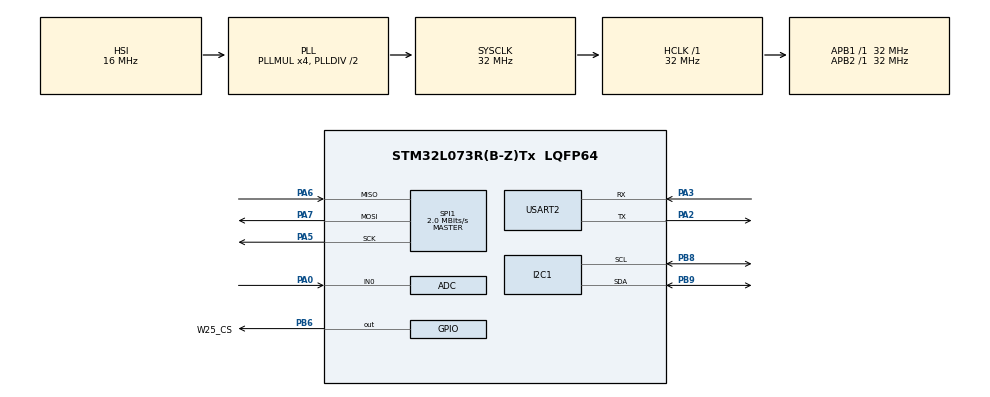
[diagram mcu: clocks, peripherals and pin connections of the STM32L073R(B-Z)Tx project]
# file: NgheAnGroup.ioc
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ADC.SamplingTime=ADC_SAMPLETIME_39CYCLES_5
FREERTOS.Mutexes01=SystemDataMutex,Dynamic,NULL,Available
FREERTOS.Queues01=LogQueue,16,LogMsg_t,0,Dynamic,NULL,NULL;CmdRxQueue,32,uint8_t,0,Dynamic,NULL,NULL
FREERTOS.Tasks01=SensorTask,24,256,StartSensorTask,Default,NULL,Dynamic,NULL,NULL;SPITask,8,256,StartSPITask,Default,NULL,Dynamic,NULL,NULL;ADCTask,8,256,StartADCTask,Default,NULL,Dynamic,NULL,NULL;UARTTask,8,256,StartUARTTask,Default,NULL,Dynamic,NULL,NULL;CommandTask,8,256,StartCommandTask,Default,NULL,Dynamic,NULL,NULL
FREERTOS.configCHECK_FOR_STACK_OVERFLOW=2
FREERTOS.configTOTAL_HEAP_SIZE=8192
I2C1.Timing=0x00B07CB4
Mcu.Family=STM32L0
Mcu.Name=STM32L073R(B-Z)Tx
Mcu.Package=LQFP64
NVIC.TIM21_IRQn=true\:3\:0\:false\:false\:true\:false\:false\:true\:true
NVIC.TimeBase=TIM21_IRQn
NVIC.TimeBaseIP=TIM21
NVIC.USART2_IRQn=true\:3\:0\:false\:false\:true\:true\:true\:true\:true
PA0.Mode=IN0
PA0.Signal=ADC_IN0
PA13.Mode=Serial_Wire
PA13.Signal=SYS_SWDIO
PA14.Mode=Serial_Wire
PA14.Signal=SYS_SWCLK
PA2.Mode=Asynchronous
PA2.Signal=USART2_TX
PA3.Mode=Asynchronous
PA3.Signal=USART2_RX
PA5.Mode=Full_Duplex_Master
PA5.Signal=SPI1_SCK
PA6.Mode=Full_Duplex_Master
PA6.Signal=SPI1_MISO
PA7.Mode=Full_Duplex_Master
PA7.Signal=SPI1_MOSI
PB6.GPIO_Label=W25_CS
PB6.Signal=GPIO_Output
PB8.Mode=I2C
PB8.Signal=I2C1_SCL
PB9.Mode=I2C
PB9.Signal=I2C1_SDA
ProjectManager.HeapSize=0x200
ProjectManager.StackSize=0x400
ProjectManager.TargetToolchain=STM32CubeIDE
RCC.AHBFreq_Value=32000000
RCC.APB1Freq_Value=32000000
RCC.APB1TimFreq_Value=32000000
RCC.APB2Freq_Value=32000000
RCC.APB2TimFreq_Value=32000000
RCC.HCLKFreq_Value=32000000
RCC.HSE_VALUE=8000000
RCC.HSI16_VALUE=16000000
RCC.HSI48_VALUE=48000000
RCC.HSI_VALUE=16000000
RCC.LSE_VALUE=32768
RCC.MSI_VALUE=2097000
RCC.PLLMUL=RCC_PLLMUL_4
RCC.SYSCLKFreq_VALUE=32000000
RCC.SYSCLKSource=RCC_SYSCLKSOURCE_PLLCLK
RCC.VCOOutputFreq_Value=64000000
SPI1.BaudRatePrescaler=SPI_BAUDRATEPRESCALER_16
SPI1.CalculateBaudRate=2.0 MBits/s
SPI1.Direction=SPI_DIRECTION_2LINES
SPI1.Mode=SPI_MODE_MASTER
SPI1.VirtualType=VM_MASTER
USART2.VirtualMode-Asynchronous=VM_ASYNC
VP_FREERTOS_VS_CMSIS_V2.Mode=CMSIS_V2
VP_SYS_VS_tim21.Mode=TIM21
board=custom

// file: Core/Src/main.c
/* USER CODE BEGIN Header */
/**
  ******************************************************************************
  * @file           : main.c
  * @brief          : Main program body
  ******************************************************************************
  * @attention
  *
  * Copyright (c) 2026 STMicroelectronics.
  * All rights reserved.
  *
  * This software is licensed under terms that can be found in the LICENSE file
  * in the root directory of this software component.
  * If no LICENSE file comes with this software, it is provided AS-IS.
  *
  ******************************************************************************
  */
/* USER CODE END Header */
#include "main.h"
#include "cmsis_os.h"
#include "adc.h"
#include "i2c.h"
#include "spi.h"
#include "usart.h"
#include "gpio.h"

void SystemClock_Config(void);
void MX_FREERTOS_Init(void);

int main(void)
{

  /* MCU Configuration--------------------------------------------------------*/

  /* Reset of all peripherals, Initializes the Flash interface and the Systick. */
  HAL_Init();

  /* Configure the system clock */
  SystemClock_Config();

  /* Initialize all configured peripherals */
  MX_GPIO_Init();
  MX_USART2_UART_Init();
  MX_ADC_Init();
  MX_I2C1_Init();
  MX_SPI1_Init();

  /* Init scheduler */
  osKernelInitialize();  /* Call init function for freertos objects (in cmsis_os2.c) */
  MX_FREERTOS_Init();

  /* Start scheduler */
  osKernelStart();

  /* We should never get here as control is now taken by the scheduler */

  /* Infinite loop */
  while (1)
  {

  }
}

void SystemClock_Config(void)
{
  RCC_OscInitTypeDef RCC_OscInitStruct = {0};
  RCC_ClkInitTypeDef RCC_ClkInitStruct = {0};
  RCC_PeriphCLKInitTypeDef PeriphClkInit = {0};

  /** Configure the main internal regulator output voltage
  */
  __HAL_PWR_VOLTAGESCALING_CONFIG(PWR_REGULATOR_VOLTAGE_SCALE1);

  /** Initializes the RCC Oscillators according to the specified parameters
  * in the RCC_OscInitTypeDef structure.
  */
  RCC_OscInitStruct.OscillatorType = RCC_OSCILLATORTYPE_HSI;
  RCC_OscInitStruct.HSIState = RCC_HSI_ON;
  RCC_OscInitStruct.HSICalibrationValue = RCC_HSICALIBRATION_DEFAULT;
  RCC_OscInitStruct.PLL.PLLState = RCC_PLL_ON;
  RCC_OscInitStruct.PLL.PLLSource = RCC_PLLSOURCE_HSI;
  RCC_OscInitStruct.PLL.PLLMUL = RCC_PLLMUL_4;
  RCC_OscInitStruct.PLL.PLLDIV = RCC_PLLDIV_2;
  if (HAL_RCC_OscConfig(&RCC_OscInitStruct) != HAL_OK)
  {
    Error_Handler();
  }

  /** Initializes the CPU, AHB and APB buses clocks
  */
  RCC_ClkInitStruct.ClockType = RCC_CLOCKTYPE_HCLK|RCC_CLOCKTYPE_SYSCLK
                              |RCC_CLOCKTYPE_PCLK1|RCC_CLOCKTYPE_PCLK2;
  RCC_ClkInitStruct.SYSCLKSource = RCC_SYSCLKSOURCE_PLLCLK;
  RCC_ClkInitStruct.AHBCLKDivider = RCC_SYSCLK_DIV1;
  RCC_ClkInitStruct.APB1CLKDivider = RCC_HCLK_DIV1;
  RCC_ClkInitStruct.APB2CLKDivider = RCC_HCLK_DIV1;

  if (HAL_RCC_ClockConfig(&RCC_ClkInitStruct, FLASH_LATENCY_1) != HAL_OK)
  {
    Error_Handler();
  }
  PeriphClkInit.PeriphClockSelection = RCC_PERIPHCLK_USART2|RCC_PERIPHCLK_I2C1;
  PeriphClkInit.Usart2ClockSelection = RCC_USART2CLKSOURCE_PCLK1;
  PeriphClkInit.I2c1ClockSelection = RCC_I2C1CLKSOURCE_PCLK1;
  if (HAL_RCCEx_PeriphCLKConfig(&PeriphClkInit) != HAL_OK)
  {
    Error_Handler();
  }
}

void HAL_TIM_PeriodElapsedCallback(TIM_HandleTypeDef *htim)
{
  if (htim->Instance == TIM21)
  {
    HAL_IncTick();
  }
}

void Error_Handler(void)
{
  __disable_irq();
  while (1)
  {
  }
}

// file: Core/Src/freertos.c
/* USER CODE BEGIN Header */
/**
  ******************************************************************************
  * File Name          : freertos.c
  * Description        : Code for freertos applications
  ******************************************************************************
  * @attention
  *
  * Copyright (c) 2026 STMicroelectronics.
  * All rights reserved.
  *
  * This software is licensed under terms that can be found in the LICENSE file
  * in the root directory of this software component.
  * If no LICENSE file comes with this software, it is provided AS-IS.
  *
  ******************************************************************************
  */
/* USER CODE END Header */

#include "FreeRTOS.h"
#include "task.h"
#include "main.h"
#include "cmsis_os.h"

/* USER CODE BEGIN Includes */
#include "app_log.h"
#include "bme280.h"
#include "app_uart.h"
#include "app_adc.h"
#include "app_cmd.h"
#include "w25qxx.h"
#include "spi.h"
#include "app_system.h"
/* USER CODE END Includes */

/* Definitions for SensorTask */
osThreadId_t SensorTaskHandle;
const osThreadAttr_t SensorTask_attributes = {
  .name = "SensorTask",
  .stack_size = 256 * 4,
  .priority = (osPriority_t) osPriorityNormal,
};
/* Definitions for SPITask */
osThreadId_t SPITaskHandle;
const osThreadAttr_t SPITask_attributes = {
  .name = "SPITask",
  .stack_size = 256 * 4,
  .priority = (osPriority_t) osPriorityLow,
};
/* Definitions for ADCTask */
osThreadId_t ADCTaskHandle;
const osThreadAttr_t ADCTask_attributes = {
  .name = "ADCTask",
  .stack_size = 256 * 4,
  .priority = (osPriority_t) osPriorityLow,
};
/* Definitions for UARTTask */
osThreadId_t UARTTaskHandle;
const osThreadAttr_t UARTTask_attributes = {
  .name = "UARTTask",
  .stack_size = 256 * 4,
  .priority = (osPriority_t) osPriorityLow,
};
/* Definitions for CommandTask */
osThreadId_t CommandTaskHandle;
const osThreadAttr_t CommandTask_attributes = {
  .name = "CommandTask",
  .stack_size = 256 * 4,
  .priority = (osPriority_t) osPriorityLow,
};
/* Definitions for LogQueue */
osMessageQueueId_t LogQueueHandle;
const osMessageQueueAttr_t LogQueue_attributes = {
  .name = "LogQueue"
};
/* Definitions for CmdRxQueue */
osMessageQueueId_t CmdRxQueueHandle;
const osMessageQueueAttr_t CmdRxQueue_attributes = {
  .name = "CmdRxQueue"
};
/* Definitions for SystemDataMutex */
osMutexId_t SystemDataMutexHandle;
const osMutexAttr_t SystemDataMutex_attributes = {
  .name = "SystemDataMutex"
};

void StartSensorTask(void *argument);
void StartSPITask(void *argument);
void StartADCTask(void *argument);
void StartUARTTask(void *argument);
void StartCommandTask(void *argument);

void MX_FREERTOS_Init(void); /* (MISRA C 2004 rule 8.1) */

/* Hook prototypes */
void vApplicationStackOverflowHook(xTaskHandle xTask, signed char *pcTaskName);

/* USER CODE BEGIN 4 */
void vApplicationStackOverflowHook(xTaskHandle xTask, signed char *pcTaskName)
{
   /* Run time stack overflow checking is performed if
   configCHECK_FOR_STACK_OVERFLOW is defined to 1 or 2. This hook function is
   called if a stack overflow is detected. */
}
/* USER CODE END 4 */

void MX_FREERTOS_Init(void) {
  /* Create the mutex(es) */
  /* creation of SystemDataMutex */
  SystemDataMutexHandle = osMutexNew(&SystemDataMutex_attributes);

  /* Create the queue(s) */
  /* creation of LogQueue */
  LogQueueHandle = osMessageQueueNew (16, sizeof(LogMsg_t), &LogQueue_attributes);

  /* creation of CmdRxQueue */
  CmdRxQueueHandle = osMessageQueueNew (32, sizeof(uint8_t), &CmdRxQueue_attributes);

  /* Create the thread(s) */
  /* creation of SensorTask */
  SensorTaskHandle = osThreadNew(StartSensorTask, NULL, &SensorTask_attributes);

  /* creation of SPITask */
  SPITaskHandle = osThreadNew(StartSPITask, NULL, &SPITask_attributes);

  /* creation of ADCTask */
  ADCTaskHandle = osThreadNew(StartADCTask, NULL, &ADCTask_attributes);

  /* creation of UARTTask */
  UARTTaskHandle = osThreadNew(StartUARTTask, NULL, &UARTTask_attributes);

  /* creation of CommandTask */
  CommandTaskHandle = osThreadNew(StartCommandTask, NULL, &CommandTask_attributes);

}

void StartSensorTask(void *argument)
{
  /* USER CODE BEGIN StartSensorTask */
  int32_t t_x10 = 0;
  uint8_t ok = (BME280_Init() == HAL_OK);

  if (ok) LOG_PostWait(LOG_INFO, 0, "I2C sensor init OK");
  else    LOG_PostWait(LOG_ERROR, 0, "I2C sensor init failed");

  for(;;)
  {
    if (!ok) ok = (BME280_Init() == HAL_OK);

    if (ok && BME280_ReadTemp_x10(&t_x10) == HAL_OK) {
      if (osMutexAcquire(SystemDataMutexHandle, 50) == osOK) {
        g_sys.temp_x10 = t_x10;
        g_sys.i2c_ok   = 1;
        osMutexRelease(SystemDataMutexHandle);
      }
      LOG_Post(LOG_I2C_TEMP, t_x10, "");
    } else {
      ok = 0;
      if (osMutexAcquire(SystemDataMutexHandle, 50) == osOK) {
        g_sys.i2c_ok = 0;
        osMutexRelease(SystemDataMutexHandle);
      }
      LOG_Post(LOG_ERROR, 0, "I2C sensor read failed");
    }
    osDelay(1000);
  }
 }
  /* USER CODE END StartSensorTask */

void StartSPITask(void *argument)
{
  /* USER CODE BEGIN StartSPITask */
  uint8_t  mfr = 0;
  uint16_t dev = 0;
  uint8_t  ok  = (W25_Init(&hspi1) == HAL_OK);

  W25_ReadId(&mfr, &dev);
  LOG_PostWait(LOG_SPI_ID, ((int32_t)mfr << 16) | dev, "");

  if (ok && W25_SelfTest() == HAL_OK) {
    LOG_PostWait(LOG_INFO, 0, "SPI flash write/read test OK");
  } else {
    ok = 0;
    LOG_PostWait(LOG_ERROR, 0, "SPI flash test failed");
  }

  if (osMutexAcquire(SystemDataMutexHandle, 50) == osOK) {
    g_sys.spi_id = ((uint32_t)mfr << 16) | dev;
    g_sys.spi_ok = ok;
    osMutexRelease(SystemDataMutexHandle);
  }

  for(;;)
  {
    osDelay(1000);
  }
  /* USER CODE END StartSPITask */
}

void StartADCTask(void *argument)
{
  /* USER CODE BEGIN StartADCTask */
	  APP_ADC_TaskLoop();
  /* USER CODE END StartADCTask */
}

void StartUARTTask(void *argument)
{
  /* USER CODE BEGIN StartUARTTask */
  /* Infinite loop */
	APP_UART_TaskLoop();
  /* USER CODE END StartUARTTask */
}

void StartCommandTask(void *argument)
{
  /* USER CODE BEGIN StartCommandTask */
	    	  APP_CMD_TaskLoop();
  /* USER CODE END StartCommandTask */
}
